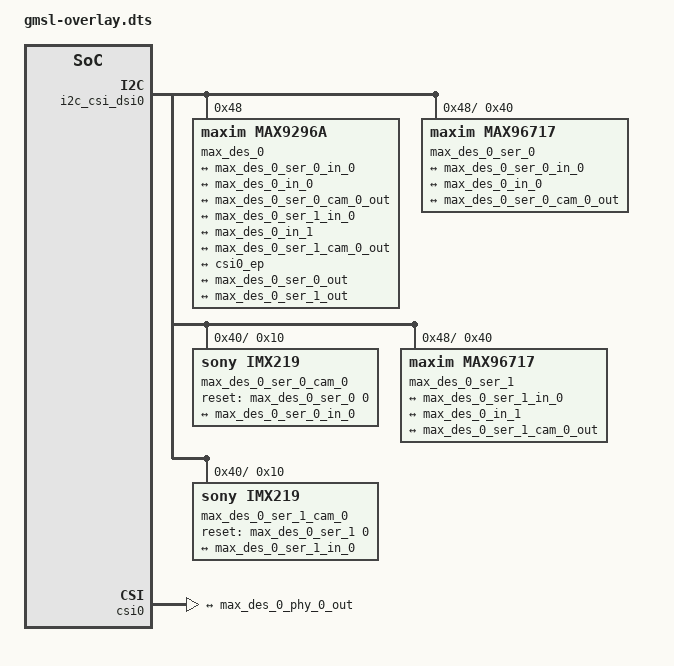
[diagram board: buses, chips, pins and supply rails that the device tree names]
/dts-v1/;
/plugin/;

&i2c_csi_dsi0 {
	status = "okay";
	max_des_0: gmsl-deserializer@48 {
		#address-cells = <1>;
		#size-cells = <0>;

		compatible = "maxim,max9296a";
		reg = <0x48>;

	};
};


&max_des_0 {
	i2c-alias-pool = <0x40 0x41 0x42 0x43>;

	max_des_0_i2c_adapter: i2c-atr {
		#address-cells = <1>;
		#size-cells = <0>;
	};

	ports {
		#address-cells = <1>;
		#size-cells = <0>;
	};
};

&max_des_0 {
	ports {
		port@2 {
			reg = <2>;

			max_des_0_phy_0_out: endpoint {
				clock-lanes = <0>;
				data-lanes = <1 2 3 4>;
				link-frequencies = /bits/ 64 <750000000>;
			};
		};
	};
};

&csi0 {
	status = "okay";
	brcm,media-controller;

	port {
		csi0_ep: endpoint {
			remote-endpoint = <&max_des_0_phy_0_out>;
			clock-lanes = <0>;
			data-lanes = <1 2 3 4>;
			link-frequencies = /bits/ 64 <750000000>;
			clock-noncontinuous;
		};
	};
};

&max_des_0_phy_0_out {
	remote-endpoint = <&csi0_ep>;
};

&max_des_0_i2c_adapter {
	max_des_0_i2c_0: i2c@0 {
		#address-cells = <1>;
		#size-cells = <0>;
		reg = <0x0>;
	};
};

&max_des_0_i2c_0 {
	max_des_0_ser_0: gmsl-serializer@40 {
		#address-cells = <1>;
		#size-cells = <0>;
		#gpio-cells = <2>;

		compatible = "maxim,max96717";
		reg = <0x40>;

		gpio-controller;
		gpio-ranges = <&max_des_0_ser_0 0 0 11>;
	};
};

&max_des_0_ser_0 {
	i2c-alias-pool = <0x50 0x51>;

	i2c-atr {
		#address-cells = <1>;
		#size-cells = <0>;

		max_des_0_ser_0_i2c_0: i2c@0 {
			#address-cells = <1>;
			#size-cells = <0>;
			reg = <0x0>;
		};
	};

	ports {
		#address-cells = <1>;
		#size-cells = <0>;

		port@1 {
			reg = <1>;

			max_des_0_ser_0_out: endpoint {
				remote-endpoint = <&max_des_0_in_0>;
			};
		};
	};
};

&max_des_0 {
	ports {
		port@0 {
			reg = <0x0>;

			max_des_0_in_0: endpoint {
				remote-endpoint = <&max_des_0_ser_0_out>;
			};
		};
	};
};

&{/} {
	max_des_0_ser_0_cam_0_xclk: max_des_0_ser_0_cam_0_xclk {
		compatible = "fixed-clock";
		#clock-cells = <0>;
		clock-frequency = <24000000>;
	};
};

&max_des_0_ser_0_i2c_0 {
	max_des_0_ser_0_cam_0: imx219@10 {
		compatible = "sony,imx219";
		reg = <0x10>;

		reset-gpios = <&max_des_0_ser_0 0 0>;

		clocks = <&max_des_0_ser_0_cam_0_xclk>;
		clock-names = "xclk";

		rotation = <180>;
		orientation = <2>;

		port {
			max_des_0_ser_0_cam_0_out: endpoint {
				clock-lanes = <0>;
				data-lanes = <1 2>;
				clock-noncontinuous;
				link-frequencies = /bits/ 64 <456000000>;
				remote-endpoint = <&max_des_0_ser_0_in_0>;
			};
		};
	};
};

&max_des_0_ser_0 {
	ports {
		port@0 {
			reg = <0>;

			max_des_0_ser_0_in_0: endpoint {
				clock-lanes = <0>;
				data-lanes = <1 2>;
				clock-noncontinuous;
				link-frequencies = /bits/ 64 <456000000>;
				remote-endpoint = <&max_des_0_ser_0_cam_0_out>;
			};
		};
	};
};

&max_des_0_i2c_adapter {
	max_des_0_i2c_1: i2c@1 {
		#address-cells = <1>;
		#size-cells = <0>;
		reg = <0x1>;
	};
};

&max_des_0_i2c_1 {
	max_des_0_ser_1: gmsl-serializer@40 {
		#address-cells = <1>;
		#size-cells = <0>;
		#gpio-cells = <2>;

		compatible = "maxim,max96717";
		reg = <0x40>;

		gpio-controller;
		gpio-ranges = <&max_des_0_ser_1 0 0 11>;
	};
};

&max_des_0_ser_1 {
	i2c-alias-pool = <0x52 0x53>;

	i2c-atr {
		#address-cells = <1>;
		#size-cells = <0>;

		max_des_0_ser_1_i2c_0: i2c@0 {
			#address-cells = <1>;
			#size-cells = <0>;
			reg = <0x0>;
		};
	};

	ports {
		#address-cells = <1>;
		#size-cells = <0>;

		port@1 {
			reg = <1>;

			max_des_0_ser_1_out: endpoint {
				remote-endpoint = <&max_des_0_in_1>;
			};
		};
	};
};

&max_des_0 {
	ports {
		port@1 {
			reg = <0x1>;

			max_des_0_in_1: endpoint {
				remote-endpoint = <&max_des_0_ser_1_out>;
			};
		};
	};
};

&{/} {
	max_des_0_ser_1_cam_0_xclk: max_des_0_ser_1_cam_0_xclk {
		compatible = "fixed-clock";
		#clock-cells = <0>;
		clock-frequency = <24000000>;
	};
};

&max_des_0_ser_1_i2c_0 {
	max_des_0_ser_1_cam_0: imx219@10 {
		compatible = "sony,imx219";
		reg = <0x10>;

		reset-gpios = <&max_des_0_ser_1 0 0>;

		clocks = <&max_des_0_ser_1_cam_0_xclk>;
		clock-names = "xclk";

		rotation = <180>;
		orientation = <2>;

		port {
			max_des_0_ser_1_cam_0_out: endpoint {
				clock-lanes = <0>;
				data-lanes = <1 2>;
				clock-noncontinuous;
				link-frequencies = /bits/ 64 <456000000>;
				remote-endpoint = <&max_des_0_ser_1_in_0>;
			};
		};
	};
};

&max_des_0_ser_1 {
	ports {
		port@0 {
			reg = <0>;

			max_des_0_ser_1_in_0: endpoint {
				clock-lanes = <0>;
				data-lanes = <1 2>;
				clock-noncontinuous;
				link-frequencies = /bits/ 64 <456000000>;
				remote-endpoint = <&max_des_0_ser_1_cam_0_out>;
			};
		};
	};
};
